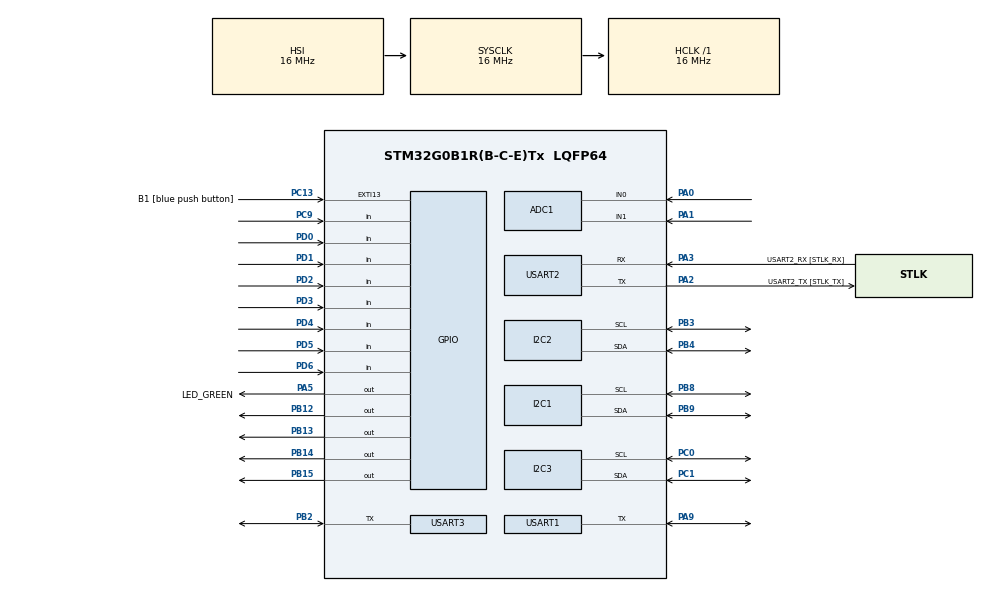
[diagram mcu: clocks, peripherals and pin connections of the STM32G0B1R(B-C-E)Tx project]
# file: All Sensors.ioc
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ADC1.Channel-0\#ChannelRegularConversion=ADC_CHANNEL_0
ADC1.Channel-1\#ChannelRegularConversion=ADC_CHANNEL_1
ADC1.ContinuousConvMode=ENABLE
ADC1.DMAContinuousRequests=ENABLE
ADC1.NbrOfConversion=2
ADC1.NbrOfConversionFlag=1
ADC1.Rank-0\#ChannelRegularConversion=1
ADC1.Rank-1\#ChannelRegularConversion=2
ADC1.SamplingTime-0\#ChannelRegularConversion=ADC_SAMPLINGTIME_COMMON_1
ADC1.SamplingTime-1\#ChannelRegularConversion=ADC_SAMPLINGTIME_COMMON_1
ADC1.SelectedChannel=ADC_CHANNEL_0|ADC_CHANNEL_1
ADC1.master=1
Dma.ADC1.0.Direction=DMA_PERIPH_TO_MEMORY
Dma.ADC1.0.EventEnable=DISABLE
Dma.ADC1.0.Instance=DMA1_Channel1
Dma.ADC1.0.MemDataAlignment=DMA_MDATAALIGN_HALFWORD
Dma.ADC1.0.MemInc=DMA_MINC_ENABLE
Dma.ADC1.0.Mode=DMA_CIRCULAR
Dma.ADC1.0.PeriphDataAlignment=DMA_PDATAALIGN_HALFWORD
Dma.ADC1.0.PeriphInc=DMA_PINC_DISABLE
Dma.ADC1.0.Polarity=HAL_DMAMUX_REQ_GEN_RISING
Dma.ADC1.0.Priority=DMA_PRIORITY_MEDIUM
Dma.ADC1.0.RequestNumber=1
Dma.ADC1.0.SignalID=NONE
Dma.ADC1.0.SyncEnable=DISABLE
Dma.ADC1.0.SyncPolarity=HAL_DMAMUX_SYNC_NO_EVENT
Dma.ADC1.0.SyncRequestNumber=1
Dma.ADC1.0.SyncSignalID=NONE
Dma.Request0=ADC1
I2C1.Timing=0x00503D58
I2C2.Timing=0x00503D58
I2C3.Timing=0x00503D58
Mcu.Family=STM32G0
Mcu.Name=STM32G0B1R(B-C-E)Tx
Mcu.Package=LQFP64
PA0.Mode=IN0
PA0.Signal=ADC1_IN0
PA1.Mode=IN1
PA1.Signal=ADC1_IN1
PA13.GPIO_Label=TMS
PA13.Mode=Serial_Wire
PA13.Signal=SYS_SWDIO
PA14-BOOT0.GPIO_Label=TCK
PA14-BOOT0.Mode=Serial_Wire
PA14-BOOT0.Signal=SYS_SWCLK
PA2.GPIO_Label=USART2_TX [STLK_TX]
PA2.Mode=Asynchronous
PA2.Signal=USART2_TX
PA3.GPIO_Label=USART2_RX [STLK_RX]
PA3.Mode=Asynchronous
PA3.Signal=USART2_RX
PA5.GPIO_Label=LED_GREEN
PA5.GPIO_Speed=GPIO_SPEED_FREQ_HIGH
PA5.Signal=GPIO_Output
PA9.Mode=Half_duplex(single_wire_mode)
PA9.Signal=USART1_TX
PB12.Signal=GPIO_Output
PB13.Signal=GPIO_Output
PB14.Signal=GPIO_Output
PB15.Signal=GPIO_Output
PB2.Mode=Half_duplex(single_wire_mode)
PB2.Signal=USART3_TX
PB3.GPIO_Pu=GPIO_NOPULL
PB3.Mode=I2C
PB3.Signal=I2C2_SCL
PB4.GPIO_Pu=GPIO_NOPULL
PB4.Mode=I2C
PB4.Signal=I2C2_SDA
PB8.GPIO_Pu=GPIO_NOPULL
PB8.Mode=I2C
PB8.Signal=I2C1_SCL
PB9.GPIO_Pu=GPIO_NOPULL
PB9.Mode=I2C
PB9.Signal=I2C1_SDA
PC0.GPIO_Pu=GPIO_PULLUP
PC0.Mode=I2C
PC0.Signal=I2C3_SCL
PC1.GPIO_Pu=GPIO_PULLUP
PC1.Mode=I2C
PC1.Signal=I2C3_SDA
PC13.GPIO_Label=B1 [blue push button]
PC13.Signal=GPXTI13
PC14-OSC32_IN\ (PC14).Mode=LSE-External-Oscillator
PC14-OSC32_IN\ (PC14).Signal=RCC_OSC32_IN
PC15-OSC32_OUT\ (PC15).Mode=LSE-External-Oscillator
PC15-OSC32_OUT\ (PC15).Signal=RCC_OSC32_OUT
PC9.Signal=GPIO_Input
PD0.Signal=GPIO_Input
PD1.Signal=GPIO_Input
PD2.Signal=GPIO_Input
PD3.Signal=GPIO_Input
PD4.Signal=GPIO_Input
PD5.Signal=GPIO_Input
PD6.Signal=GPIO_Input
PF0-OSC_IN\ (PF0).GPIO_Label=MCO
PF0-OSC_IN\ (PF0).Mode=HSE-External-Clock-Source
PF0-OSC_IN\ (PF0).Signal=RCC_OSC_IN
ProjectManager.HeapSize=0x200
ProjectManager.StackSize=0x400
ProjectManager.TargetToolchain=STM32CubeIDE
RCC.AHBFreq_Value=16000000
RCC.CortexFreq_Value=16000000
RCC.EXTERNAL_CLOCK_VALUE=12288000
RCC.HCLKFreq_Value=16000000
RCC.HSE_VALUE=8000000
RCC.HSI48_VALUE=48000000
RCC.HSI_VALUE=16000000
RCC.SYSCLKFreq_VALUE=16000000
RCC.USBFreq_Value=48000000
RCC.VCOOutputFreq_Value=128000000
USART1.VirtualMode-Half_duplex(single_wire_mode)=VM_ASYNC
USART2.VirtualMode-Asynchronous=VM_ASYNC
USART3.VirtualMode-Half_duplex(single_wire_mode)=VM_ASYNC
VP_SYS_VS_DBSignals.Mode=DisableDeadBatterySignals
board=NUCLEO-G0B1RE

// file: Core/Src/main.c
/* USER CODE BEGIN Header */
/**
  ******************************************************************************
  * @file           : main.c
  * @brief          : Main program body
  ******************************************************************************
  * @attention
  *
  * Copyright (c) 2026 STMicroelectronics.
  * All rights reserved.
  *
  * This software is licensed under terms that can be found in the LICENSE file
  * in the root directory of this software component.
  * If no LICENSE file comes with this software, it is provided AS-IS.
  *
  ******************************************************************************
  */
/* USER CODE END Header */
#include "main.h"

/* USER CODE BEGIN Includes */
#include "turbidity.h"
#include "DS18B20.h"
#include "DS3231(CLK).h"
#include "waterlevel.h"
#include "ph.h"
#include "state_machine.h"
#include <stdbool.h>
#include "mcp23017.h"
/* USER CODE END Includes */

ADC_HandleTypeDef hadc1;
DMA_HandleTypeDef hdma_adc1;

I2C_HandleTypeDef hi2c1;
I2C_HandleTypeDef hi2c2;
I2C_HandleTypeDef hi2c3;

UART_HandleTypeDef huart1;
UART_HandleTypeDef huart2;
UART_HandleTypeDef huart3;

/* USER CODE BEGIN PV */

// Turbidity sensor on channel 1, pH on channel 2
uint16_t adc_buffer [2] = {0};
// Water change flag to ensure we don't go back in states
bool water_change_flag = 0;

// Create an instance of the SensorValues Struct, initialize to 0
SensorValues sensorvalues = {0};

// Create an instance of the Cooldown Struct, initialize to 0.
CooldownStruct cooldown = {0};
extern DateTimeStruct curr_date_time;
extern ScheduledWaterChange sched_date_time;
extern MCP23017_HandleTypeDef htd;
/* USER CODE END PV */

void SystemClock_Config(void);
static void MX_GPIO_Init(void);
static void MX_DMA_Init(void);
static void MX_USART2_UART_Init(void);
static void MX_I2C1_Init(void);
static void MX_I2C2_Init(void);
static void MX_ADC1_Init(void);
static void MX_USART1_UART_Init(void);
static void MX_I2C3_Init(void);
static void MX_USART3_UART_Init(void);

int main(void)
{

  /* MCU Configuration--------------------------------------------------------*/

  /* Reset of all peripherals, Initializes the Flash interface and the Systick. */
  HAL_Init();

  /* Configure the system clock */
  SystemClock_Config();

  /* Initialize all configured peripherals */
  MX_GPIO_Init();
  MX_DMA_Init();
  MX_USART2_UART_Init();
  MX_I2C1_Init();
  MX_I2C2_Init();
  MX_ADC1_Init();
  MX_USART1_UART_Init();
  MX_I2C3_Init();
  MX_USART3_UART_Init();
  /* USER CODE BEGIN 2 */
  HAL_ADC_Start_DMA(&hadc1, (uint32_t*)adc_buffer, 2);
  // Initialize external I2C RTC
  DS3231_Init(&hi2c1);
  // Set RTC CLK rate
 // DS3231_SetRateSelect(DS3231_1HZ);
  //DS3231_SetMonth(3);
  //DS3231_SetYear(2026);
 // DS3231_SetDate(6);
 // DS3231_SetHour(14);
 //DS3231_SetMinute(29);
  //DS3231_SetSecond(0);
  // Initalize external GPIO
  MCP23017_Init(&htd);
  /* USER CODE END 2 */

  /* Infinite loop */
  while (1)
  {

    /* USER CODE BEGIN 3 */
	  // Update date and time
	  update_date_time();
	  // Only check for scheduled water change if we're not changing water
	  if(water_change_flag != 1){
		  sched_curr_time();

	  }
	  if (cooldown.cooldown_flag &&
	      timer_expired(cooldown.cooldown_sod, 60u,
	                    curr_date_time.hours,
	                    curr_date_time.minutes,
	                    curr_date_time.seconds))
	  {
	      cooldown.cooldown_flag = 0;
	  }
	  // Handle state machine
	  handle_water_state();
  }

  /* USER CODE END 3 */
}

void SystemClock_Config(void)
{
  RCC_OscInitTypeDef RCC_OscInitStruct = {0};
  RCC_ClkInitTypeDef RCC_ClkInitStruct = {0};

  /** Configure the main internal regulator output voltage
  */
  HAL_PWREx_ControlVoltageScaling(PWR_REGULATOR_VOLTAGE_SCALE1);

  /** Initializes the RCC Oscillators according to the specified parameters
  * in the RCC_OscInitTypeDef structure.
  */
  RCC_OscInitStruct.OscillatorType = RCC_OSCILLATORTYPE_HSI;
  RCC_OscInitStruct.HSIState = RCC_HSI_ON;
  RCC_OscInitStruct.HSIDiv = RCC_HSI_DIV1;
  RCC_OscInitStruct.HSICalibrationValue = RCC_HSICALIBRATION_DEFAULT;
  RCC_OscInitStruct.PLL.PLLState = RCC_PLL_NONE;
  if (HAL_RCC_OscConfig(&RCC_OscInitStruct) != HAL_OK)
  {
    Error_Handler();
  }

  /** Initializes the CPU, AHB and APB buses clocks
  */
  RCC_ClkInitStruct.ClockType = RCC_CLOCKTYPE_HCLK|RCC_CLOCKTYPE_SYSCLK
                              |RCC_CLOCKTYPE_PCLK1;
  RCC_ClkInitStruct.SYSCLKSource = RCC_SYSCLKSOURCE_HSI;
  RCC_ClkInitStruct.AHBCLKDivider = RCC_SYSCLK_DIV1;
  RCC_ClkInitStruct.APB1CLKDivider = RCC_HCLK_DIV1;

  if (HAL_RCC_ClockConfig(&RCC_ClkInitStruct, FLASH_LATENCY_0) != HAL_OK)
  {
    Error_Handler();
  }
}

static void MX_ADC1_Init(void)
{

  ADC_ChannelConfTypeDef sConfig = {0};

  /** Configure the global features of the ADC (Clock, Resolution, Data Alignment and number of conversion)
  */
  hadc1.Instance = ADC1;
  hadc1.Init.ClockPrescaler = ADC_CLOCK_SYNC_PCLK_DIV2;
  hadc1.Init.Resolution = ADC_RESOLUTION_12B;
  hadc1.Init.DataAlign = ADC_DATAALIGN_RIGHT;
  hadc1.Init.ScanConvMode = ADC_SCAN_ENABLE;
  hadc1.Init.EOCSelection = ADC_EOC_SINGLE_CONV;
  hadc1.Init.LowPowerAutoWait = DISABLE;
  hadc1.Init.LowPowerAutoPowerOff = DISABLE;
  hadc1.Init.ContinuousConvMode = ENABLE;
  hadc1.Init.NbrOfConversion = 2;
  hadc1.Init.ExternalTrigConv = ADC_SOFTWARE_START;
  hadc1.Init.ExternalTrigConvEdge = ADC_EXTERNALTRIGCONVEDGE_NONE;
  hadc1.Init.DMAContinuousRequests = ENABLE;
  hadc1.Init.Overrun = ADC_OVR_DATA_PRESERVED;
  hadc1.Init.SamplingTimeCommon1 = ADC_SAMPLETIME_1CYCLE_5;
  hadc1.Init.SamplingTimeCommon2 = ADC_SAMPLETIME_1CYCLE_5;
  hadc1.Init.OversamplingMode = DISABLE;
  hadc1.Init.TriggerFrequencyMode = ADC_TRIGGER_FREQ_HIGH;
  if (HAL_ADC_Init(&hadc1) != HAL_OK)
  {
    Error_Handler();
  }

  /** Configure Regular Channel
  */
  sConfig.Channel = ADC_CHANNEL_0;
  sConfig.Rank = ADC_REGULAR_RANK_1;
  sConfig.SamplingTime = ADC_SAMPLINGTIME_COMMON_1;
  if (HAL_ADC_ConfigChannel(&hadc1, &sConfig) != HAL_OK)
  {
    Error_Handler();
  }

  /** Configure Regular Channel
  */
  sConfig.Channel = ADC_CHANNEL_1;
  sConfig.Rank = ADC_REGULAR_RANK_2;
  if (HAL_ADC_ConfigChannel(&hadc1, &sConfig) != HAL_OK)
  {
    Error_Handler();
  }

}

static void MX_I2C1_Init(void)
{

  hi2c1.Instance = I2C1;
  hi2c1.Init.Timing = 0x00503D58;
  hi2c1.Init.OwnAddress1 = 0;
  hi2c1.Init.AddressingMode = I2C_ADDRESSINGMODE_7BIT;
  hi2c1.Init.DualAddressMode = I2C_DUALADDRESS_DISABLE;
  hi2c1.Init.OwnAddress2 = 0;
  hi2c1.Init.OwnAddress2Masks = I2C_OA2_NOMASK;
  hi2c1.Init.GeneralCallMode = I2C_GENERALCALL_DISABLE;
  hi2c1.Init.NoStretchMode = I2C_NOSTRETCH_DISABLE;
  if (HAL_I2C_Init(&hi2c1) != HAL_OK)
  {
    Error_Handler();
  }

  /** Configure Analogue filter
  */
  if (HAL_I2CEx_ConfigAnalogFilter(&hi2c1, I2C_ANALOGFILTER_ENABLE) != HAL_OK)
  {
    Error_Handler();
  }

  /** Configure Digital filter
  */
  if (HAL_I2CEx_ConfigDigitalFilter(&hi2c1, 0) != HAL_OK)
  {
    Error_Handler();
  }

}

static void MX_I2C2_Init(void)
{

  hi2c2.Instance = I2C2;
  hi2c2.Init.Timing = 0x00503D58;
  hi2c2.Init.OwnAddress1 = 0;
  hi2c2.Init.AddressingMode = I2C_ADDRESSINGMODE_7BIT;
  hi2c2.Init.DualAddressMode = I2C_DUALADDRESS_DISABLE;
  hi2c2.Init.OwnAddress2 = 0;
  hi2c2.Init.OwnAddress2Masks = I2C_OA2_NOMASK;
  hi2c2.Init.GeneralCallMode = I2C_GENERALCALL_DISABLE;
  hi2c2.Init.NoStretchMode = I2C_NOSTRETCH_DISABLE;
  if (HAL_I2C_Init(&hi2c2) != HAL_OK)
  {
    Error_Handler();
  }

  /** Configure Analogue filter
  */
  if (HAL_I2CEx_ConfigAnalogFilter(&hi2c2, I2C_ANALOGFILTER_ENABLE) != HAL_OK)
  {
    Error_Handler();
  }

  /** Configure Digital filter
  */
  if (HAL_I2CEx_ConfigDigitalFilter(&hi2c2, 0) != HAL_OK)
  {
    Error_Handler();
  }

}

static void MX_I2C3_Init(void)
{

  hi2c3.Instance = I2C3;
  hi2c3.Init.Timing = 0x00503D58;
  hi2c3.Init.OwnAddress1 = 0;
  hi2c3.Init.AddressingMode = I2C_ADDRESSINGMODE_7BIT;
  hi2c3.Init.DualAddressMode = I2C_DUALADDRESS_DISABLE;
  hi2c3.Init.OwnAddress2 = 0;
  hi2c3.Init.OwnAddress2Masks = I2C_OA2_NOMASK;
  hi2c3.Init.GeneralCallMode = I2C_GENERALCALL_DISABLE;
  hi2c3.Init.NoStretchMode = I2C_NOSTRETCH_DISABLE;
  if (HAL_I2C_Init(&hi2c3) != HAL_OK)
  {
    Error_Handler();
  }

  /** Configure Analogue filter
  */
  if (HAL_I2CEx_ConfigAnalogFilter(&hi2c3, I2C_ANALOGFILTER_ENABLE) != HAL_OK)
  {
    Error_Handler();
  }

  /** Configure Digital filter
  */
  if (HAL_I2CEx_ConfigDigitalFilter(&hi2c3, 0) != HAL_OK)
  {
    Error_Handler();
  }

}

static void MX_USART1_UART_Init(void)
{

  huart1.Instance = USART1;
  huart1.Init.BaudRate = 115200;
  huart1.Init.WordLength = UART_WORDLENGTH_8B;
  huart1.Init.StopBits = UART_STOPBITS_1;
  huart1.Init.Parity = UART_PARITY_NONE;
  huart1.Init.Mode = UART_MODE_TX_RX;
  huart1.Init.HwFlowCtl = UART_HWCONTROL_NONE;
  huart1.Init.OverSampling = UART_OVERSAMPLING_16;
  huart1.Init.OneBitSampling = UART_ONE_BIT_SAMPLE_DISABLE;
  huart1.Init.ClockPrescaler = UART_PRESCALER_DIV1;
  huart1.AdvancedInit.AdvFeatureInit = UART_ADVFEATURE_NO_INIT;
  if (HAL_HalfDuplex_Init(&huart1) != HAL_OK)
  {
    Error_Handler();
  }
  if (HAL_UARTEx_SetTxFifoThreshold(&huart1, UART_TXFIFO_THRESHOLD_1_8) != HAL_OK)
  {
    Error_Handler();
  }
  if (HAL_UARTEx_SetRxFifoThreshold(&huart1, UART_RXFIFO_THRESHOLD_1_8) != HAL_OK)
  {
    Error_Handler();
  }
  if (HAL_UARTEx_DisableFifoMode(&huart1) != HAL_OK)
  {
    Error_Handler();
  }

}

static void MX_USART2_UART_Init(void)
{

  huart2.Instance = USART2;
  huart2.Init.BaudRate = 115200;
  huart2.Init.WordLength = UART_WORDLENGTH_8B;
  huart2.Init.StopBits = UART_STOPBITS_1;
  huart2.Init.Parity = UART_PARITY_NONE;
  huart2.Init.Mode = UART_MODE_TX_RX;
  huart2.Init.HwFlowCtl = UART_HWCONTROL_NONE;
  huart2.Init.OverSampling = UART_OVERSAMPLING_16;
  huart2.Init.OneBitSampling = UART_ONE_BIT_SAMPLE_DISABLE;
  huart2.Init.ClockPrescaler = UART_PRESCALER_DIV1;
  huart2.AdvancedInit.AdvFeatureInit = UART_ADVFEATURE_NO_INIT;
  if (HAL_UART_Init(&huart2) != HAL_OK)
  {
    Error_Handler();
  }
  if (HAL_UARTEx_SetTxFifoThreshold(&huart2, UART_TXFIFO_THRESHOLD_1_8) != HAL_OK)
  {
    Error_Handler();
  }
  if (HAL_UARTEx_SetRxFifoThreshold(&huart2, UART_RXFIFO_THRESHOLD_1_8) != HAL_OK)
  {
    Error_Handler();
  }
  if (HAL_UARTEx_DisableFifoMode(&huart2) != HAL_OK)
  {
    Error_Handler();
  }

}

static void MX_USART3_UART_Init(void)
{

  huart3.Instance = USART3;
  huart3.Init.BaudRate = 115200;
  huart3.Init.WordLength = UART_WORDLENGTH_8B;
  huart3.Init.StopBits = UART_STOPBITS_1;
  huart3.Init.Parity = UART_PARITY_NONE;
  huart3.Init.Mode = UART_MODE_TX_RX;
  huart3.Init.HwFlowCtl = UART_HWCONTROL_NONE;
  huart3.Init.OverSampling = UART_OVERSAMPLING_16;
  huart3.Init.OneBitSampling = UART_ONE_BIT_SAMPLE_DISABLE;
  huart3.Init.ClockPrescaler = UART_PRESCALER_DIV1;
  huart3.AdvancedInit.AdvFeatureInit = UART_ADVFEATURE_NO_INIT;
  if (HAL_HalfDuplex_Init(&huart3) != HAL_OK)
  {
    Error_Handler();
  }
  if (HAL_UARTEx_SetTxFifoThreshold(&huart3, UART_TXFIFO_THRESHOLD_1_8) != HAL_OK)
  {
    Error_Handler();
  }
  if (HAL_UARTEx_SetRxFifoThreshold(&huart3, UART_RXFIFO_THRESHOLD_1_8) != HAL_OK)
  {
    Error_Handler();
  }
  if (HAL_UARTEx_DisableFifoMode(&huart3) != HAL_OK)
  {
    Error_Handler();
  }

}

static void MX_DMA_Init(void)
{

  /* DMA controller clock enable */
  __HAL_RCC_DMA1_CLK_ENABLE();

}

static void MX_GPIO_Init(void)
{
  GPIO_InitTypeDef GPIO_InitStruct = {0};

  /* GPIO Ports Clock Enable */
  __HAL_RCC_GPIOC_CLK_ENABLE();
  __HAL_RCC_GPIOF_CLK_ENABLE();
  __HAL_RCC_GPIOA_CLK_ENABLE();
  __HAL_RCC_GPIOB_CLK_ENABLE();
  __HAL_RCC_GPIOD_CLK_ENABLE();

  /*Configure GPIO pin Output Level */
  HAL_GPIO_WritePin(LED_GREEN_GPIO_Port, LED_GREEN_Pin, GPIO_PIN_RESET);

  /*Configure GPIO pin Output Level */
  HAL_GPIO_WritePin(GPIOB, GPIO_PIN_12|GPIO_PIN_13|GPIO_PIN_14|GPIO_PIN_15, GPIO_PIN_RESET);

  /*Configure GPIO pin : B1_Pin */
  GPIO_InitStruct.Pin = B1_Pin;
  GPIO_InitStruct.Mode = GPIO_MODE_IT_RISING;
  GPIO_InitStruct.Pull = GPIO_NOPULL;
  HAL_GPIO_Init(B1_GPIO_Port, &GPIO_InitStruct);

  /*Configure GPIO pin : LED_GREEN_Pin */
  GPIO_InitStruct.Pin = LED_GREEN_Pin;
  GPIO_InitStruct.Mode = GPIO_MODE_OUTPUT_PP;
  GPIO_InitStruct.Pull = GPIO_NOPULL;
  GPIO_InitStruct.Speed = GPIO_SPEED_FREQ_HIGH;
  HAL_GPIO_Init(LED_GREEN_GPIO_Port, &GPIO_InitStruct);

  /*Configure GPIO pins : PB12 PB13 PB14 PB15 */
  GPIO_InitStruct.Pin = GPIO_PIN_12|GPIO_PIN_13|GPIO_PIN_14|GPIO_PIN_15;
  GPIO_InitStruct.Mode = GPIO_MODE_OUTPUT_PP;
  GPIO_InitStruct.Pull = GPIO_NOPULL;
  GPIO_InitStruct.Speed = GPIO_SPEED_FREQ_LOW;
  HAL_GPIO_Init(GPIOB, &GPIO_InitStruct);

  /*Configure GPIO pin : PC9 */
  GPIO_InitStruct.Pin = GPIO_PIN_9;
  GPIO_InitStruct.Mode = GPIO_MODE_INPUT;
  GPIO_InitStruct.Pull = GPIO_NOPULL;
  HAL_GPIO_Init(GPIOC, &GPIO_InitStruct);

  /*Configure GPIO pins : PD0 PD1 PD2 PD3
                           PD4 PD5 PD6 */
  GPIO_InitStruct.Pin = GPIO_PIN_0|GPIO_PIN_1|GPIO_PIN_2|GPIO_PIN_3
                          |GPIO_PIN_4|GPIO_PIN_5|GPIO_PIN_6;
  GPIO_InitStruct.Mode = GPIO_MODE_INPUT;
  GPIO_InitStruct.Pull = GPIO_NOPULL;
  HAL_GPIO_Init(GPIOD, &GPIO_InitStruct);

}

void Error_Handler(void)
{
  __disable_irq();
  while (1)
  {
  }
}
